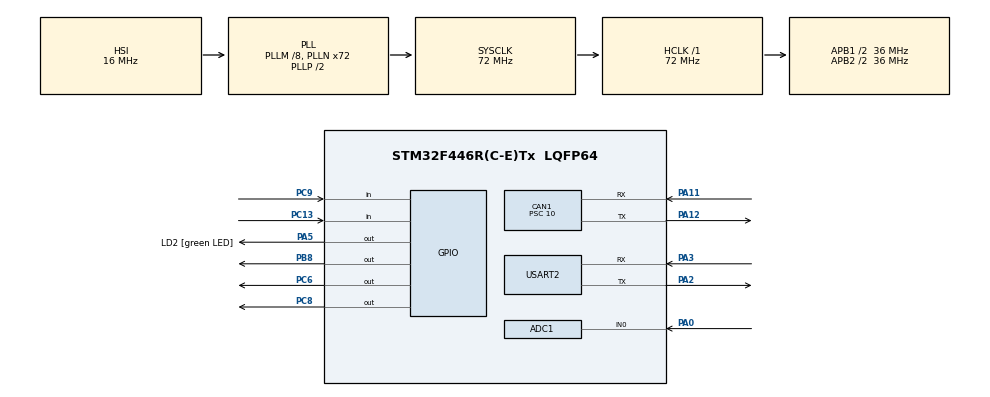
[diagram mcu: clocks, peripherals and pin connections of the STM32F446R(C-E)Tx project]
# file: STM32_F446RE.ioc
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ADC1.Channel-0\#ChannelRegularConversion=ADC_CHANNEL_0
ADC1.ContinuousConvMode=ENABLE
ADC1.NbrOfConversionFlag=1
ADC1.Rank-0\#ChannelRegularConversion=1
ADC1.SamplingTime-0\#ChannelRegularConversion=ADC_SAMPLETIME_3CYCLES
ADC1.ScanConvMode=ENABLE
ADC1.master=1
CAN1.BS1=CAN_BS1_13TQ
CAN1.BS2=CAN_BS2_2TQ
CAN1.CalculateTimeQuantum=277.77777777777777
CAN1.Prescaler=10
Mcu.Family=STM32F4
Mcu.Name=STM32F446R(C-E)Tx
Mcu.Package=LQFP64
NVIC.ADC_IRQn=true\:0\:0\:false\:false\:true\:true\:true
NVIC.CAN1_RX0_IRQn=true\:0\:0\:false\:false\:true\:true\:true
NVIC.CAN1_TX_IRQn=true\:0\:0\:false\:false\:true\:true\:true
NVIC.PriorityGroup=NVIC_PRIORITYGROUP_4
NVIC.USART2_IRQn=true\:0\:0\:false\:false\:true\:true\:true
PA0-WKUP.Signal=ADCx_IN0
PA11.Mode=Master
PA11.Signal=CAN1_RX
PA12.Mode=Master
PA12.Signal=CAN1_TX
PA2.Mode=Asynchronous
PA2.Signal=USART2_TX
PA3.Mode=Asynchronous
PA3.Signal=USART2_RX
PA5.GPIO_Label=LD2 [green LED]
PA5.GPIO_Speed=GPIO_SPEED_FREQ_VERY_HIGH
PA5.Signal=GPIO_Output
PB8.GPIO_Speed=GPIO_SPEED_FREQ_VERY_HIGH
PB8.PinState=GPIO_PIN_SET
PB8.Signal=GPIO_Output
PC13.GPIO_PuPd=GPIO_PULLUP
PC13.Signal=GPIO_Input
PC6.GPIO_Speed=GPIO_SPEED_FREQ_VERY_HIGH
PC6.Signal=GPIO_Output
PC8.GPIO_Speed=GPIO_SPEED_FREQ_VERY_HIGH
PC8.Signal=GPIO_Output
PC9.Signal=GPIO_Input
ProjectManager.HeapSize=0x200
ProjectManager.StackSize=0x400
ProjectManager.TargetToolchain=MDK-ARM V5
RCC.AHBFreq_Value=72000000
RCC.APB1CLKDivider=RCC_HCLK_DIV2
RCC.APB1Freq_Value=36000000
RCC.APB1TimFreq_Value=72000000
RCC.APB2CLKDivider=RCC_HCLK_DIV2
RCC.APB2Freq_Value=36000000
RCC.APB2TimFreq_Value=72000000
RCC.CortexFreq_Value=72000000
RCC.HCLKFreq_Value=72000000
RCC.PLLM=8
RCC.PLLN=72
RCC.SYSCLKFreq_VALUE=72000000
RCC.SYSCLKSource=RCC_SYSCLKSOURCE_PLLCLK
RCC.USBFreq_Value=72000000
RCC.VCOOutputFreq_Value=144000000
SH.ADCx_IN0.0=ADC1_IN0,IN0
USART2.VirtualMode=VM_ASYNC
board=custom

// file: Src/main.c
/**
  ******************************************************************************
  * @file           : main.c
  * @brief          : Main program body
  ******************************************************************************
  ** This notice applies to any and all portions of this file
  * that are not between comment pairs USER CODE BEGIN and
  * USER CODE END. Other portions of this file, whether
  * inserted by the user or by software development tools
  * are owned by their respective copyright owners.
  *
  * COPYRIGHT(c) 2021 STMicroelectronics
  *
  * Redistribution and use in source and binary forms, with or without modification,
  * are permitted provided that the following conditions are met:
  *   1. Redistributions of source code must retain the above copyright notice,
  *      this list of conditions and the following disclaimer.
  *   2. Redistributions in binary form must reproduce the above copyright notice,
  *      this list of conditions and the following disclaimer in the documentation
  *      and/or other materials provided with the distribution.
  *   3. Neither the name of STMicroelectronics nor the names of its contributors
  *      may be used to endorse or promote products derived from this software
  *      without specific prior written permission.
  *
  * THIS SOFTWARE IS PROVIDED BY THE COPYRIGHT HOLDERS AND CONTRIBUTORS "AS IS"
  * AND ANY EXPRESS OR IMPLIED WARRANTIES, INCLUDING, BUT NOT LIMITED TO, THE
  * IMPLIED WARRANTIES OF MERCHANTABILITY AND FITNESS FOR A PARTICULAR PURPOSE ARE
  * DISCLAIMED. IN NO EVENT SHALL THE COPYRIGHT HOLDER OR CONTRIBUTORS BE LIABLE
  * FOR ANY DIRECT, INDIRECT, INCIDENTAL, SPECIAL, EXEMPLARY, OR CONSEQUENTIAL
  * DAMAGES (INCLUDING, BUT NOT LIMITED TO, PROCUREMENT OF SUBSTITUTE GOODS OR
  * SERVICES; LOSS OF USE, DATA, OR PROFITS; OR BUSINESS INTERRUPTION) HOWEVER
  * CAUSED AND ON ANY THEORY OF LIABILITY, WHETHER IN CONTRACT, STRICT LIABILITY,
  * OR TORT (INCLUDING NEGLIGENCE OR OTHERWISE) ARISING IN ANY WAY OUT OF THE USE
  * OF THIS SOFTWARE, EVEN IF ADVISED OF THE POSSIBILITY OF SUCH DAMAGE.
  *
  ******************************************************************************
  */
#include "main.h"
#include "stm32f4xx_hal.h"

/* USER CODE BEGIN Includes */
#include "stdio.h"
#include "stdlib.h"
#include "KEYPAD.h"
/* USER CODE END Includes */

ADC_HandleTypeDef hadc1;

CAN_HandleTypeDef hcan1;

UART_HandleTypeDef huart2;

/* USER CODE BEGIN PV */
/* Private variables ---------------------------------------------------------*/
CAN_TxHeaderTypeDef		TxHeader;
CAN_RxHeaderTypeDef 	RxHeader;
uint8_t								TxData[8];
uint8_t								RxData[8];
uint32_t							TxMailbox;

int16_t value=0;
/* USER CODE END PV */

void SystemClock_Config(void);
static void MX_GPIO_Init(void);
static void MX_CAN1_Init(void);
static void MX_ADC1_Init(void);
static void MX_USART2_UART_Init(void);

/* USER CODE BEGIN PFP */
/* Private function prototypes -----------------------------------------------*/
static void MX_CAN1_UserInit(void);
/* USER CODE END PFP */

/* USER CODE BEGIN 0 */

void CanWriteData(uint16_t ID);

void HAL_ADC_ConvCpltCallback(ADC_HandleTypeDef* hadc)
	{
			if(hadc->Instance==ADC1)
				{
						value=HAL_ADC_GetValue(hadc);
				}
	}

#ifdef __GNUC__
 /* With GCC/RAISONANCE, small printf (option LD Linker->Libraries->Small printf
 set to 'Yes') calls __io_putchar() */
 #define PUTCHAR_PROTOTYPE int __io_putchar(int ch)
#else
 #define PUTCHAR_PROTOTYPE int fputc(int ch, FILE *f)
#endif /* __GNUC__ */

/**
 * @brief Retargets the C library printf function to the USART.
 * @param None
 * @retval None
 */
PUTCHAR_PROTOTYPE
{
 /* Place your implementation of fputc here */
 /* e.g. write a character to the USART */
 HAL_UART_Transmit(&huart2, (uint8_t *)&ch, 1, 100);

 return ch;
}
/* USER CODE END 0 */

int main(void)
{

  /* MCU Configuration----------------------------------------------------------*/

  /* Reset of all peripherals, Initializes the Flash interface and the Systick. */
  HAL_Init();

  /* Configure the system clock */
  SystemClock_Config();

  /* Initialize all configured peripherals */
  MX_GPIO_Init();
  MX_CAN1_Init();
  MX_ADC1_Init();
  MX_USART2_UART_Init();
  /* USER CODE BEGIN 2 */
	HAL_ADC_Start_IT(&hadc1);
	MX_CAN1_UserInit();
	KeypadInit();
	// CAN start
	if (HAL_CAN_Start(&hcan1) != HAL_OK)
	{
		/* Start Error */
		Error_Handler();
		//HAL_GPIO_WritePin(LD2_GPIO_Port, LD2_Pin, GPIO_PIN_RESET);
	} //else {
		//HAL_GPIO_WritePin(LD2_GPIO_Port, LD2_Pin, GPIO_PIN_SET);
	//}

	// CAN notifications (interrupts)
	if (HAL_CAN_ActivateNotification(&hcan1, CAN_IT_RX_FIFO0_MSG_PENDING | CAN_IT_TX_MAILBOX_EMPTY) != HAL_OK)
	{
		/* Notification Error */
		Error_Handler();
		//HAL_GPIO_WritePin(LD2_GPIO_Port, LD2_Pin, GPIO_PIN_RESET);
	} //else {
		//HAL_GPIO_WritePin(LD2_GPIO_Port, LD2_Pin, GPIO_PIN_SET);
	//}

//	/* CAN TX messager */
//	TxHeader.StdId = 0x200;
//	TxHeader.ExtId = 0x00;
//	TxHeader.RTR = CAN_RTR_DATA;
//	TxHeader.IDE = CAN_ID_STD;
//	TxHeader.DLC = 8;
//	TxHeader.TransmitGlobalTime = DISABLE;
//	TxData[0] = 1;
//	TxData[1] = 2;
//	TxData[2] = 3;
//	TxData[3] = 4;
//	TxData[4] = 5;
//	TxData[5] = 6;
//	TxData[6] = 7;
//	TxData[7] = 8;
  /* USER CODE END 2 */

  /* Infinite loop */
  /* USER CODE BEGIN WHILE */
	HAL_CAN_Start(&hcan1);
  HAL_CAN_ActivateNotification(&hcan1,CAN_IT_RX_FIFO0_MSG_PENDING);
	uint16_t x=0;
  while (1)
  {

  /* USER CODE END WHILE */

  /* USER CODE BEGIN 3 */

		HAL_ADC_Start_IT(&hadc1);
		if(value>3200)
			{
				CanWriteData(0x50);
			}

		x=QuetPhim();
		if(x!=0)
		{

			CanWriteData(x);
			HAL_Delay(100);
		}

		if(HAL_GPIO_ReadPin(GPIOC, GPIO_PIN_9)==0)
			{
				HAL_Delay(200);
				CanWriteData(0x00);
			}
//			if(HAL_GPIO_ReadPin(GPIOC, GPIO_PIN_13)==0)
//				{
//						HAL_GPIO_WritePin(GPIOB, GPIO_PIN_8, 0);
//				}
//				else HAL_GPIO_WritePin(GPIOB, GPIO_PIN_8, 1);
  }
  /* USER CODE END 3 */

}

void SystemClock_Config(void)
{

  RCC_OscInitTypeDef RCC_OscInitStruct;
  RCC_ClkInitTypeDef RCC_ClkInitStruct;

    /**Configure the main internal regulator output voltage
    */
  __HAL_RCC_PWR_CLK_ENABLE();

  __HAL_PWR_VOLTAGESCALING_CONFIG(PWR_REGULATOR_VOLTAGE_SCALE3);

    /**Initializes the CPU, AHB and APB busses clocks
    */
  RCC_OscInitStruct.OscillatorType = RCC_OSCILLATORTYPE_HSI;
  RCC_OscInitStruct.HSIState = RCC_HSI_ON;
  RCC_OscInitStruct.HSICalibrationValue = 16;
  RCC_OscInitStruct.PLL.PLLState = RCC_PLL_ON;
  RCC_OscInitStruct.PLL.PLLSource = RCC_PLLSOURCE_HSI;
  RCC_OscInitStruct.PLL.PLLM = 8;
  RCC_OscInitStruct.PLL.PLLN = 72;
  RCC_OscInitStruct.PLL.PLLP = RCC_PLLP_DIV2;
  RCC_OscInitStruct.PLL.PLLQ = 2;
  RCC_OscInitStruct.PLL.PLLR = 2;
  if (HAL_RCC_OscConfig(&RCC_OscInitStruct) != HAL_OK)
  {
    _Error_Handler(__FILE__, __LINE__);
  }

    /**Initializes the CPU, AHB and APB busses clocks
    */
  RCC_ClkInitStruct.ClockType = RCC_CLOCKTYPE_HCLK|RCC_CLOCKTYPE_SYSCLK
                              |RCC_CLOCKTYPE_PCLK1|RCC_CLOCKTYPE_PCLK2;
  RCC_ClkInitStruct.SYSCLKSource = RCC_SYSCLKSOURCE_PLLCLK;
  RCC_ClkInitStruct.AHBCLKDivider = RCC_SYSCLK_DIV1;
  RCC_ClkInitStruct.APB1CLKDivider = RCC_HCLK_DIV2;
  RCC_ClkInitStruct.APB2CLKDivider = RCC_HCLK_DIV2;

  if (HAL_RCC_ClockConfig(&RCC_ClkInitStruct, FLASH_LATENCY_2) != HAL_OK)
  {
    _Error_Handler(__FILE__, __LINE__);
  }

    /**Configure the Systick interrupt time
    */
  HAL_SYSTICK_Config(HAL_RCC_GetHCLKFreq()/1000);

    /**Configure the Systick
    */
  HAL_SYSTICK_CLKSourceConfig(SYSTICK_CLKSOURCE_HCLK);

  /* SysTick_IRQn interrupt configuration */
  HAL_NVIC_SetPriority(SysTick_IRQn, 0, 0);
}

/* ADC1 init function */
static void MX_ADC1_Init(void)
{

  ADC_ChannelConfTypeDef sConfig;

    /**Configure the global features of the ADC (Clock, Resolution, Data Alignment and number of conversion)
    */
  hadc1.Instance = ADC1;
  hadc1.Init.ClockPrescaler = ADC_CLOCK_SYNC_PCLK_DIV2;
  hadc1.Init.Resolution = ADC_RESOLUTION_12B;
  hadc1.Init.ScanConvMode = ENABLE;
  hadc1.Init.ContinuousConvMode = ENABLE;
  hadc1.Init.DiscontinuousConvMode = DISABLE;
  hadc1.Init.ExternalTrigConvEdge = ADC_EXTERNALTRIGCONVEDGE_NONE;
  hadc1.Init.ExternalTrigConv = ADC_SOFTWARE_START;
  hadc1.Init.DataAlign = ADC_DATAALIGN_RIGHT;
  hadc1.Init.NbrOfConversion = 1;
  hadc1.Init.DMAContinuousRequests = DISABLE;
  hadc1.Init.EOCSelection = ADC_EOC_SINGLE_CONV;
  if (HAL_ADC_Init(&hadc1) != HAL_OK)
  {
    _Error_Handler(__FILE__, __LINE__);
  }

    /**Configure for the selected ADC regular channel its corresponding rank in the sequencer and its sample time.
    */
  sConfig.Channel = ADC_CHANNEL_0;
  sConfig.Rank = 1;
  sConfig.SamplingTime = ADC_SAMPLETIME_3CYCLES;
  if (HAL_ADC_ConfigChannel(&hadc1, &sConfig) != HAL_OK)
  {
    _Error_Handler(__FILE__, __LINE__);
  }

}

/* CAN1 init function */
static void MX_CAN1_Init(void)
{

  hcan1.Instance = CAN1;
  hcan1.Init.Prescaler = 10;
  hcan1.Init.Mode = CAN_MODE_NORMAL;
  hcan1.Init.SyncJumpWidth = CAN_SJW_1TQ;
  hcan1.Init.TimeSeg1 = CAN_BS1_13TQ;
  hcan1.Init.TimeSeg2 = CAN_BS2_2TQ;
  hcan1.Init.TimeTriggeredMode = DISABLE;
  hcan1.Init.AutoBusOff = DISABLE;
  hcan1.Init.AutoWakeUp = DISABLE;
  hcan1.Init.AutoRetransmission = DISABLE;
  hcan1.Init.ReceiveFifoLocked = DISABLE;
  hcan1.Init.TransmitFifoPriority = DISABLE;
  if (HAL_CAN_Init(&hcan1) != HAL_OK)
  {
    _Error_Handler(__FILE__, __LINE__);
  }

}

/* USART2 init function */
static void MX_USART2_UART_Init(void)
{

  huart2.Instance = USART2;
  huart2.Init.BaudRate = 115200;
  huart2.Init.WordLength = UART_WORDLENGTH_8B;
  huart2.Init.StopBits = UART_STOPBITS_1;
  huart2.Init.Parity = UART_PARITY_NONE;
  huart2.Init.Mode = UART_MODE_TX_RX;
  huart2.Init.HwFlowCtl = UART_HWCONTROL_NONE;
  huart2.Init.OverSampling = UART_OVERSAMPLING_16;
  if (HAL_UART_Init(&huart2) != HAL_OK)
  {
    _Error_Handler(__FILE__, __LINE__);
  }

}

/** Configure pins
*/
static void MX_GPIO_Init(void)
{

  GPIO_InitTypeDef GPIO_InitStruct;

  /* GPIO Ports Clock Enable */
  __HAL_RCC_GPIOC_CLK_ENABLE();
  __HAL_RCC_GPIOA_CLK_ENABLE();
  __HAL_RCC_GPIOB_CLK_ENABLE();

  /*Configure GPIO pin Output Level */
  HAL_GPIO_WritePin(LD2_GPIO_Port, LD2_Pin, GPIO_PIN_RESET);

  /*Configure GPIO pin Output Level */
  HAL_GPIO_WritePin(GPIOC, GPIO_PIN_6|GPIO_PIN_8, GPIO_PIN_RESET);

  /*Configure GPIO pin Output Level */
  HAL_GPIO_WritePin(GPIOB, GPIO_PIN_8, GPIO_PIN_SET);

  /*Configure GPIO pin : PC13 */
  GPIO_InitStruct.Pin = GPIO_PIN_13;
  GPIO_InitStruct.Mode = GPIO_MODE_INPUT;
  GPIO_InitStruct.Pull = GPIO_PULLUP;
  HAL_GPIO_Init(GPIOC, &GPIO_InitStruct);

  /*Configure GPIO pin : LD2_Pin */
  GPIO_InitStruct.Pin = LD2_Pin;
  GPIO_InitStruct.Mode = GPIO_MODE_OUTPUT_PP;
  GPIO_InitStruct.Pull = GPIO_NOPULL;
  GPIO_InitStruct.Speed = GPIO_SPEED_FREQ_VERY_HIGH;
  HAL_GPIO_Init(LD2_GPIO_Port, &GPIO_InitStruct);

  /*Configure GPIO pins : PC6 PC8 */
  GPIO_InitStruct.Pin = GPIO_PIN_6|GPIO_PIN_8;
  GPIO_InitStruct.Mode = GPIO_MODE_OUTPUT_PP;
  GPIO_InitStruct.Pull = GPIO_NOPULL;
  GPIO_InitStruct.Speed = GPIO_SPEED_FREQ_VERY_HIGH;
  HAL_GPIO_Init(GPIOC, &GPIO_InitStruct);

  /*Configure GPIO pin : PC9 */
  GPIO_InitStruct.Pin = GPIO_PIN_9;
  GPIO_InitStruct.Mode = GPIO_MODE_INPUT;
  GPIO_InitStruct.Pull = GPIO_NOPULL;
  HAL_GPIO_Init(GPIOC, &GPIO_InitStruct);

  /*Configure GPIO pin : PB8 */
  GPIO_InitStruct.Pin = GPIO_PIN_8;
  GPIO_InitStruct.Mode = GPIO_MODE_OUTPUT_PP;
  GPIO_InitStruct.Pull = GPIO_NOPULL;
  GPIO_InitStruct.Speed = GPIO_SPEED_FREQ_VERY_HIGH;
  HAL_GPIO_Init(GPIOB, &GPIO_InitStruct);

}

/* USER CODE BEGIN 4 */

void CanWriteData(uint16_t ID)
{
	int i=0;
	for(i=0 ; i<8 ; i++)
	{
		TxData[i]= rand()%0xff;
	}

  /* transmit */

	TxHeader.StdId = ID;				// CAN message address
	//TxHeader.ExtId = 0x00;			 	// Only used if (TxHeader.IDE == CAN_ID_EXT)
	TxHeader.RTR = CAN_RTR_DATA;	// Data request, not remote request
	TxHeader.IDE = CAN_ID_STD;		// Standard CAN, not Extended
	TxHeader.DLC = 8;							// Data size in bytes
	TxHeader.TransmitGlobalTime = DISABLE;

		HAL_CAN_AddTxMessage(&hcan1, &TxHeader, TxData, &TxMailbox);

		//TxData[7] = TxData[7] + 1;

}

static void MX_CAN1_UserInit(void)
{
	CAN_FilterTypeDef			sFilterConfig;

	// CAN filter structure items configuration
	sFilterConfig.FilterBank = 0;		// Use first filter bank
	sFilterConfig.FilterMode = CAN_FILTERMODE_IDMASK;		// Look for specific can messages
	sFilterConfig.FilterScale = CAN_FILTERSCALE_32BIT;
	sFilterConfig.FilterIdHigh = 0x00;		 	// Filter registers need to be shifted left 5 bits
	sFilterConfig.FilterIdLow = 0x0000;				// Filter registers need to be shifted left 5 bits
	sFilterConfig.FilterMaskIdHigh = 0x0000;	// Unused
	sFilterConfig.FilterMaskIdLow = 0x0000;		// Unused
	sFilterConfig.FilterFIFOAssignment = CAN_RX_FIFO0;
	sFilterConfig.FilterActivation = ENABLE;
	sFilterConfig.SlaveStartFilterBank = 0;		// Set all filter banks for CAN1

	// CAN filter configuration function call
	if (HAL_CAN_ConfigFilter(&hcan1, &sFilterConfig) != HAL_OK)
	{
		/* Filter Configuration Error */
		Error_Handler();
	}
}

// Transmission Mailbox 0 complete callback.
void HAL_CAN_TxMailbox0CompleteCallback(CAN_HandleTypeDef *hcan) {
	if(TxHeader.StdId==0x10)	//nut *
		{
			HAL_GPIO_WritePin(GPIOC, GPIO_PIN_6, 1);
			HAL_GPIO_WritePin(GPIOC, GPIO_PIN_8, 1);
					printf("ID : 0x0%x\n", RxHeader.StdId);
					int i=0;
					for(i=0 ; i<8 ; i++) printf("%x  ", RxData[i]);
					printf("\n");
			printf("bat tat ca quat & den\r\n");
		}
	if(TxHeader.StdId==0x11)	//nut#
		{
			HAL_GPIO_WritePin(GPIOC, GPIO_PIN_6, 0);
			HAL_GPIO_WritePin(GPIOC, GPIO_PIN_8, 0);
					printf("ID : 0x0%x\n", RxHeader.StdId);
					int i=0;
					for(i=0 ; i<8 ; i++) printf("%x  ", RxData[i]);
					printf("\n");
			printf("tat tat  ca quat & den\r\n");
		}
	if(TxHeader.StdId==0x03)
				{
					HAL_GPIO_WritePin(GPIOC, GPIO_PIN_6, 1);

					printf("ID : 0x0%x\n", RxHeader.StdId);
					int i=0;
					for(i=0 ; i<8 ; i++) printf("%x  ", RxData[i]);
					printf("\n");
			printf("bat tat ca den\r\n");
				}
	if(TxHeader.StdId==0x04)
				{
					HAL_GPIO_WritePin(GPIOC, GPIO_PIN_6, 0);

					printf("ID : 0x0%x\n", RxHeader.StdId);
					int i=0;
					for(i=0 ; i<8 ; i++) printf("%x  ", RxData[i]);
					printf("\n");
			printf("tat tat ca den\r\n");
				}
	if(TxHeader.StdId==0x05)
		{
			HAL_GPIO_WritePin(GPIOC, GPIO_PIN_8, 1);

			printf("ID : 0x0%x\n", RxHeader.StdId);
			int i=0;
			for(i=0 ; i<8 ; i++) printf("%x  ", RxData[i]);
			printf("\n");
			printf("bat tat ca quat\r\n");
		}
	if(TxHeader.StdId==0x06)
		{
			HAL_GPIO_WritePin(GPIOC, GPIO_PIN_8, 0);

			printf("ID : 0x0%x\n", RxHeader.StdId);
			int i=0;
			for(i=0 ; i<8 ; i++) printf("%x  ", RxData[i]);
			printf("\n");
			printf("tat tat ca quat\r\n");
		}

		//IR
		if(TxHeader.StdId==0x00)
		{
			HAL_GPIO_TogglePin(GPIOC, GPIO_PIN_6|GPIO_PIN_8);

			printf("ID : 0x0%x\n", RxHeader.StdId);
			int i=0;
			for(i=0 ; i<8 ; i++) printf("%x  ", RxData[i]);
			printf("\n");
			printf("dao trang thai thiet bi\r\n");
		}
		//mq2 446
		if(TxHeader.StdId==0x50)
		{
			HAL_GPIO_WritePin(GPIOC, GPIO_PIN_6|GPIO_PIN_8, 1);
			HAL_GPIO_WritePin(GPIOB, GPIO_PIN_8, 0);
			printf("ID : 0x0%x\n", RxHeader.StdId);
			int i=0;
			for(i=0 ; i<8 ; i++) printf("%x  ", RxData[i]);
			printf("\n");
			printf("phat hien khi Gas\r\n");
			printf("dieu khien module sim\r\n");
		}

		//tat coi
		if(TxHeader.StdId==0x100)
		{
			HAL_GPIO_WritePin(GPIOC, GPIO_PIN_6|GPIO_PIN_8, 0);
			HAL_GPIO_WritePin(GPIOB, GPIO_PIN_8, 1);
			printf("ID : 0x0%x\n", RxHeader.StdId);
			int i=0;
			for(i=0 ; i<8 ; i++) printf("%x  ", RxData[i]);
			printf("\n");
			printf("tat tat ca thiet bi\r\n");
		}

}

// CAN Rx Callback
void HAL_CAN_RxFifo0MsgPendingCallback(CAN_HandleTypeDef *hcan) {
	HAL_CAN_GetRxMessage(&hcan1, CAN_RX_FIFO0, &RxHeader, RxData);

	if(RxHeader.StdId==0x10) //nut *
		{
			HAL_GPIO_WritePin(GPIOC, GPIO_PIN_6, 1);
			HAL_GPIO_WritePin(GPIOC, GPIO_PIN_8, 1);

			//truyen hercules
			printf("ID : 0x%x\n", RxHeader.StdId);
			int i=0;
			for(i=0 ; i<8 ; i++) printf("%x  ", RxData[i]);
			printf("\n");
			printf("bat tat ca quat & den\r\n");
		}
		if(RxHeader.StdId==0x11) //nut #
		{
			HAL_GPIO_WritePin(GPIOC, GPIO_PIN_6, 0);
			HAL_GPIO_WritePin(GPIOC, GPIO_PIN_8, 0);

			printf("ID : 0x%x\n", RxHeader.StdId);
			int i=0;
			for(i=0 ; i<8 ; i++) printf("%x  ", RxData[i]);
			printf("\n");
			printf("tat tat ca quat & den\r\n");
		}
		if(RxHeader.StdId==0x01)
				{
					HAL_GPIO_WritePin(GPIOC, GPIO_PIN_6, 1);
					HAL_GPIO_WritePin(GPIOC, GPIO_PIN_8, 1);
					printf("ID : 0x0%x\n", RxHeader.StdId);
					int i=0;
					for(i=0 ; i<8 ; i++) printf("%x  ", RxData[i]);
					printf("\n");
					printf("bat tat ca CAN Node nhan\r\n");
				}
		if(RxHeader.StdId==0x02)
				{
					HAL_GPIO_WritePin(GPIOC, GPIO_PIN_6, 0);
					HAL_GPIO_WritePin(GPIOC, GPIO_PIN_8, 0);
					printf("ID : 0x0%x\n", RxHeader.StdId);
					int i=0;
					for(i=0 ; i<8 ; i++) printf("%x  ", RxData[i]);
					printf("\n");
					printf("tat tat ca CAN Node nhan\r\n");
				}
		if(RxHeader.StdId==0x03)
				{
					HAL_GPIO_WritePin(GPIOC, GPIO_PIN_6, 1);

					printf("ID : 0x0%x\n", RxHeader.StdId);
					int i=0;
					for(i=0 ; i<8 ; i++) printf("%x  ", RxData[i]);
					printf("\n");
					printf("bat tat ca den\r\n");
				}
if(RxHeader.StdId==0x04)
		{
			HAL_GPIO_WritePin(GPIOC, GPIO_PIN_6, 0);

			printf("ID : 0x0%x\n", RxHeader.StdId);
			int i=0;
			for(i=0 ; i<8 ; i++) printf("%x  ", RxData[i]);
			printf("\n");
			printf("tat tat ca den\r\n");
		}
if(RxHeader.StdId==0x05)
		{
			HAL_GPIO_WritePin(GPIOC, GPIO_PIN_8, 1);

			printf("ID : 0x0%x\n", RxHeader.StdId);
			int i=0;
			for(i=0 ; i<8 ; i++) printf("%x  ", RxData[i]);
			printf("\n");
			printf("bat tat ca quat\r\n");
		}
if(RxHeader.StdId==0x06)
		{
			HAL_GPIO_WritePin(GPIOC, GPIO_PIN_8, 0);

			printf("ID : 0x0%x\n", RxHeader.StdId);
			int i=0;
			for(i=0 ; i<8 ; i++) printf("%x  ", RxData[i]);
			printf("\n");
			printf("tat tat ca quat\r\n");
		}
//mq2 446
		if(RxHeader.StdId==0x50)
		{
			HAL_GPIO_WritePin(GPIOC, GPIO_PIN_6|GPIO_PIN_8, 1);

			printf("ID : 0x0%x\n", RxHeader.StdId);
			int i=0;
			for(i=0 ; i<8 ; i++) printf("%x  ", RxData[i]);
			printf("\n");
			printf("phat hien khi gas 446\n dieu khien module sim\r\n");
			}
//mq2 103
		if(RxHeader.StdId==0x51)
		{
			HAL_GPIO_WritePin(GPIOC, GPIO_PIN_6|GPIO_PIN_8, 1);
			HAL_GPIO_WritePin(GPIOB, GPIO_PIN_8, 0);
			printf("ID : 0x0%x\n", RxHeader.StdId);
			int i=0;
			for(i=0 ; i<8 ; i++) printf("%x  ", RxData[i]);
			printf("\n");
			}
//tat coi
		if(RxHeader.StdId==0x100)
		{
			HAL_GPIO_WritePin(GPIOC, GPIO_PIN_6|GPIO_PIN_8, 0);
			HAL_GPIO_WritePin(GPIOB, GPIO_PIN_8, 1);
			printf("ID : 0x0%x\n", RxHeader.StdId);
			int i=0;
			for(i=0 ; i<8 ; i++) printf("%x  ", RxData[i]);
			printf("\n");
			printf("tat coi\n");
		}
//mq2 476
		if(RxHeader.StdId==0x476)
		{
			HAL_GPIO_WritePin(GPIOC, GPIO_PIN_6|GPIO_PIN_8, 1);
			HAL_GPIO_WritePin(GPIOB, GPIO_PIN_8, 0);
			printf("ID : 0x0%x\n", RxHeader.StdId);
			int i=0;
			for(i=0 ; i<8 ; i++) printf("%x  ", RxData[i]);
			printf("\n");
			printf("phat hien khi gas 476\n dieu khien module sim\r\n");
			}
}
/* USER CODE END 4 */

void _Error_Handler(char *file, int line)
{
  while(1)
  {
  }
}

/************************ (C) COPYRIGHT STMicroelectronics *****END OF FILE****/
